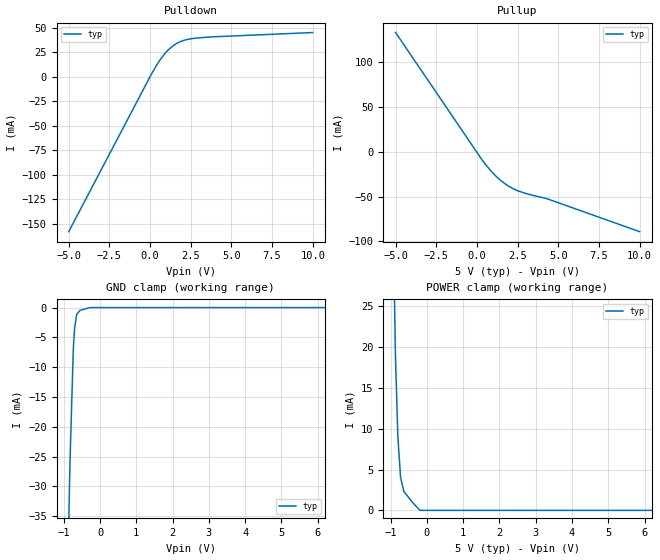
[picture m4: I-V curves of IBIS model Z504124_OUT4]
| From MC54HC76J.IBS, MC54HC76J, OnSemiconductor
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| (C) COPYRIGHT 1993-2000
| MENTOR GRAPHICS CORPORATION
| ICX STANDARD LIBRARY, ICX PROJECT MODELING,
| ICX CUSTOM MODELING, ICX VENDOR MODEL
| ALL RIGHTS RESERVED.
| THE FOLLOWING ARE TRADEMARKS OR SERVICE MARKS OF
| MENTOR GRAPHICS CORPORATION:ICX (R), ICX STANDARD
| LIBRARY(R), ICX PROJECT MODELING(R), ICX CUSTOM
| MODELING(R), qualityIBIS(TM), MODELVIEWER(TM),
| AND MODELEDITOR(TM)
| ALL COPIES OF SOFTWARE, INCLUDING BUT NOT LIMITED TO
| ANY MODIFICATIONS, ENHANCEMENTS OR DERIVATIVE WORKS,
| MUST CONTAIN ALL MENTOR GRAPHICS CORPORATION'S
| NOTICES AND LEGENDS, INCLUDING THOSE EMBEDDED IN
| SOFTWARE AND THOSE AFFIXED TO SOFTWARE MEDIUM
| AND CONTAINER, AS RECEIVED FROM MENTOR GRAPHICS
| CORPORATION.
| Model Application Version 1.89 2/18/99.
[Model] Z504124_OUT4
Model_type Output
Vref=0.000V
Rref=500.0Mohms
Cref=50.00pF
Vmeas=2.500V
C_comp 8.000pF NA NA
| variable typ   min   max
[Voltage Range] 5.000V NA NA
[POWER Clamp Reference] 5.000V NA NA
[Pullup Reference] 5.000V NA NA
[Pulldown Reference] 0.000V NA NA
[GND Clamp Reference] 0.000V NA NA
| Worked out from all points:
|   slope of the pulldown table from 0 to 0.75 V, typ, clamps not added: 37.2 ohm
|   slope of the pullup table from 0 to 0.75 V, typ, clamps not added: 41 ohm
|   GND clamp passes 1 mA (typ) near -0.62 V on its own axis
|   POWER clamp passes 1 mA (typ) near -0.40 V on its own axis
[GND Clamp]
-5V       -1.305A    NA         NA
-830.3mV  -26.18mA   NA         NA
-737.7mV  -7.029mA   NA         NA
-702.7mV  -3.484mA   NA         NA
-643.9mV  -1.141mA   NA         NA
-551.7mV  -462.8uA   NA         NA
-275.8mV  0A         NA         NA
10V       0A         NA         NA
[Pulldown]
-5V       -157.9mA   NA         NA
83.47mV   2.661mA    NA         NA
704mV     19.19mA    NA         NA
1.114V    27.26mA    NA         NA
1.412V    31.43mA    NA         NA
1.705V    34.55mA    NA         NA
2.159V    37.39mA    NA         NA
3.175V    39.83mA    NA         NA
10V       44.99mA    NA         NA
[Pullup]
-5V       133.1mA    NA         NA
314mV     -9.087mA   NA         NA
918mV     -22.57mA   NA         NA
1.425V    -31.49mA   NA         NA
1.895V    -37.82mA   NA         NA
2.508V    -43.61mA   NA         NA
4.355V    -52.73mA   NA         NA
10V       -89.17mA   NA         NA
[POWER Clamp]
-5V       1.608A     NA         NA
-1.005V   56.1mA     NA         NA
-869mV    19.11mA    NA         NA
-802mV    9.098mA    NA         NA
-727mV    4.026mA    NA         NA
-635mV    2.308mA    NA         NA
-386mV    922.1uA    NA         NA
-193mV    0A         NA         NA
10V       0A         NA         NA
[Ramp]
| variable typ min max
dV/dt_r 2.805/2.846n NA NA
dV/dt_f 2.805/2.568n NA NA
R_load = 500.0Ohms
